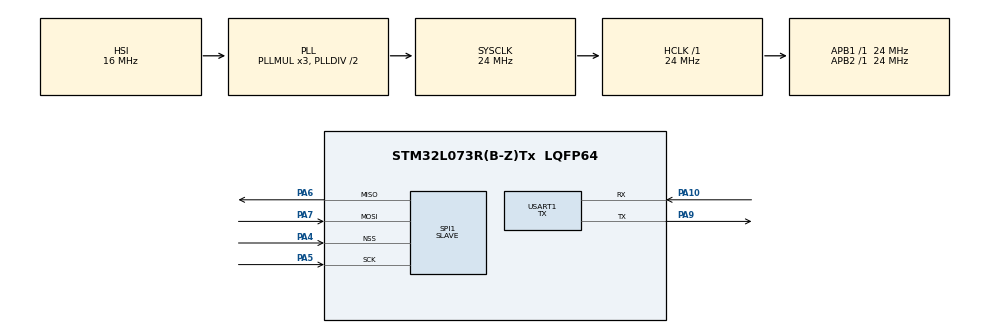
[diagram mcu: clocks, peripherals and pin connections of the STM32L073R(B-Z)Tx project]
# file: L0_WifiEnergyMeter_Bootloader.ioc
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Dma.Request0=USART1_TX
Dma.Request1=SPI1_RX
Dma.Request2=SPI1_TX
Dma.SPI1_RX.1.Direction=DMA_PERIPH_TO_MEMORY
Dma.SPI1_RX.1.Instance=DMA1_Channel2
Dma.SPI1_RX.1.MemDataAlignment=DMA_MDATAALIGN_BYTE
Dma.SPI1_RX.1.MemInc=DMA_MINC_ENABLE
Dma.SPI1_RX.1.Mode=DMA_CIRCULAR
Dma.SPI1_RX.1.PeriphDataAlignment=DMA_PDATAALIGN_BYTE
Dma.SPI1_RX.1.PeriphInc=DMA_PINC_DISABLE
Dma.SPI1_RX.1.Priority=DMA_PRIORITY_HIGH
Dma.SPI1_TX.2.Direction=DMA_MEMORY_TO_PERIPH
Dma.SPI1_TX.2.Instance=DMA1_Channel3
Dma.SPI1_TX.2.MemDataAlignment=DMA_MDATAALIGN_BYTE
Dma.SPI1_TX.2.MemInc=DMA_MINC_ENABLE
Dma.SPI1_TX.2.Mode=DMA_NORMAL
Dma.SPI1_TX.2.PeriphDataAlignment=DMA_PDATAALIGN_BYTE
Dma.SPI1_TX.2.PeriphInc=DMA_PINC_DISABLE
Dma.SPI1_TX.2.Priority=DMA_PRIORITY_MEDIUM
Dma.USART1_TX.0.Direction=DMA_MEMORY_TO_PERIPH
Dma.USART1_TX.0.Instance=DMA1_Channel4
Dma.USART1_TX.0.MemDataAlignment=DMA_MDATAALIGN_BYTE
Dma.USART1_TX.0.MemInc=DMA_MINC_ENABLE
Dma.USART1_TX.0.Mode=DMA_NORMAL
Dma.USART1_TX.0.PeriphDataAlignment=DMA_PDATAALIGN_BYTE
Dma.USART1_TX.0.PeriphInc=DMA_PINC_DISABLE
Dma.USART1_TX.0.Priority=DMA_PRIORITY_LOW
Mcu.Family=STM32L0
Mcu.Name=STM32L073R(B-Z)Tx
Mcu.Package=LQFP64
NVIC.DMA1_Channel2_3_IRQn=true\:0\:0\:false\:false\:true\:false\:true
NVIC.DMA1_Channel4_5_6_7_IRQn=true\:0\:0\:false\:false\:true\:false\:true
NVIC.SPI1_IRQn=true\:0\:0\:false\:false\:true\:true\:true
NVIC.USART1_IRQn=true\:0\:0\:false\:false\:true\:true\:true
PA10.Mode=Asynchronous
PA10.Signal=USART1_RX
PA13.Mode=Serial_Wire
PA13.Signal=SYS_SWDIO
PA14.Mode=Serial_Wire
PA14.Signal=SYS_SWCLK
PA4.Mode=NSS_Signal_Hard_Input
PA4.Signal=SPI1_NSS
PA5.Mode=Full_Duplex_Slave
PA5.Signal=SPI1_SCK
PA6.Mode=Full_Duplex_Slave
PA6.Signal=SPI1_MISO
PA7.Mode=Full_Duplex_Slave
PA7.Signal=SPI1_MOSI
PA9.Mode=Asynchronous
PA9.Signal=USART1_TX
ProjectManager.HeapSize=0x200
ProjectManager.StackSize=0x400
ProjectManager.TargetToolchain=STM32CubeIDE
RCC.AHBFreq_Value=24000000
RCC.APB1Freq_Value=24000000
RCC.APB1TimFreq_Value=24000000
RCC.APB2Freq_Value=24000000
RCC.APB2TimFreq_Value=24000000
RCC.HCLKFreq_Value=24000000
RCC.HSE_VALUE=8000000
RCC.HSI16_VALUE=16000000
RCC.HSI48_VALUE=48000000
RCC.HSI_VALUE=16000000
RCC.LSE_VALUE=32768
RCC.MSI_VALUE=2097000
RCC.SYSCLKFreq_VALUE=24000000
RCC.SYSCLKSource=RCC_SYSCLKSOURCE_PLLCLK
RCC.VCOOutputFreq_Value=48000000
SPI1.Direction=SPI_DIRECTION_2LINES
SPI1.Mode=SPI_MODE_SLAVE
SPI1.VirtualNSS=VM_NSSHARD
SPI1.VirtualType=VM_SLAVE
USART1.Mode=MODE_TX
USART1.VirtualMode-Asynchronous=VM_ASYNC
board=custom

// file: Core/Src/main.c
/* USER CODE BEGIN Header */
/**
  ******************************************************************************
  * @file           : main.c
  * @brief          : Main program body
  ******************************************************************************
  * @attention
  *
  * <h2><center>&copy; Copyright (c) 2021 STMicroelectronics.
  * All rights reserved.</center></h2>
  *
  * This software component is licensed by ST under BSD 3-Clause license,
  * the "License"; You may not use this file except in compliance with the
  * License. You may obtain a copy of the License at:
  *                        opensource.org/licenses/BSD-3-Clause
  *
  ******************************************************************************
  */
/* USER CODE END Header */
#include "main.h"

SPI_HandleTypeDef hspi1;
DMA_HandleTypeDef hdma_spi1_rx;
DMA_HandleTypeDef hdma_spi1_tx;

UART_HandleTypeDef huart1;
DMA_HandleTypeDef hdma_usart1_tx;

/* USER CODE BEGIN PV */
uint8_t SPI_RxDMABuffer[512] = { 0 };
uint8_t SPI_TxDMABuffer[512] = { 0 };
uint8_t spiRxBuffer[512] = { 0 };
extern uint8_t spiTxBuffer[512];
uint8_t espMsgRcvd = 0;

volatile uint32_t iapMailbox[2] __attribute__((section(".IAPMailbox")));
volatile uint32_t VectorTable[64] __attribute__((section(".RAMVectorTable")));
const tAppInfo appinfo __attribute__((section (".app_info"))) = {.length = 0x00, .version = APPLICATION_VERS};
const uint8_t appsha[20] __attribute__((section (".app_sha"))) = {0x0};
uint32_t gStayInBootloader = 0;
uint8_t blStay = 1;

extern void bus_process(void);

/* USER CODE END PV */

void SystemClock_Config(void);
static void MX_GPIO_Init(void);
static void MX_DMA_Init(void);
static void MX_USART1_UART_Init(void);
static void MX_SPI1_Init(void);

/* USER CODE BEGIN 0 */
void HAL_GPIO_EXTI_Callback(uint16_t GPIO_Pin) {

	if (GPIO_Pin == GPIO_PIN_4) {
		//__HAL_SPI_ENABLE(&hspi1);

	}
}

void HAL_SPI_RxCpltCallback(SPI_HandleTypeDef *hspi) {
	dbg_printf("RX ALL\r\n");

	memcpy(spiRxBuffer, SPI_RxDMABuffer, 512);
	espMsgRcvd = 1;
	bus_process();
	memset(SPI_RxDMABuffer, 0, 512);
}

void normalboot(void)
{
	iapMailbox[0] = 0;
	iapMailbox[1] = 0;
	dbg_printf("NB\n");
	iap_JumpToApplication();
}
/* USER CODE END 0 */

int main(void)
{
  /* USER CODE BEGIN 1 */
	int cnt = 0;
	int appStatus = 0;

  /* USER CODE END 1 */

  /* MCU Configuration--------------------------------------------------------*/

  /* Reset of all peripherals, Initializes the Flash interface and the Systick. */
  HAL_Init();

  /* Configure the system clock */
  SystemClock_Config();

  /* Initialize all configured peripherals */
  MX_GPIO_Init();
  MX_DMA_Init();
  MX_USART1_UART_Init();
  MX_SPI1_Init();
  /* USER CODE BEGIN 2 */
  FLASH_If_Init();
  debug_init();
  dbg_printf("cDAS Bootloader Initialization\r\n");

  HAL_SPI_Receive_DMA(&hspi1, SPI_RxDMABuffer, 512);
  //HAL_SPI_Transmit_DMA(&hspi1, spiTxBuffer, 512);

  //__HAL_SPI_ENABLE((&hspi1));
  SET_BIT(hspi1.Instance->CR2, SPI_CR2_TXDMAEN);
  CLEAR_BIT(hspi1.Instance->CR1, SPI_CR1_SSM);
  CLEAR_BIT(hspi1.Instance->CR1, SPI_CR1_SSI);

  HAL_DMA_Start(&hdma_spi1_tx, (uint32_t)&spiTxBuffer[0], (uint32_t)&hspi1.Instance->DR, 512);

  while(cnt < 1000)
  {
	  bus_comm_process();
	  HAL_Delay(1);
	  cnt++;
  }
  if (gStayInBootloader)
  {
	  while(1)
	  {
		  bus_comm_process();
		  HAL_Delay(1);
	  }
  }

  blStay = 0;

  appStatus = iap_CheckApplication();
  dbg_printf("App\n");
  dbg_printf(" Status: %2.2X\n",(unsigned int)appStatus);
  dbg_printf(" Keys: %x %x\n",(unsigned int)iapMailbox[0],(unsigned int)iapMailbox[1]);

  if (appStatus == 0)
  {
	  normalboot();
  }

  /* USER CODE END 2 */

  /* Infinite loop */
  while (1)
  {

    /* USER CODE BEGIN 3 */
	  bus_comm_process();
	  HAL_Delay(1);
  }
  /* USER CODE END 3 */
}

void SystemClock_Config(void)
{
  RCC_OscInitTypeDef RCC_OscInitStruct = {0};
  RCC_ClkInitTypeDef RCC_ClkInitStruct = {0};
  RCC_PeriphCLKInitTypeDef PeriphClkInit = {0};

  /** Configure the main internal regulator output voltage
  */
  __HAL_PWR_VOLTAGESCALING_CONFIG(PWR_REGULATOR_VOLTAGE_SCALE1);
  /** Initializes the RCC Oscillators according to the specified parameters
  * in the RCC_OscInitTypeDef structure.
  */
  RCC_OscInitStruct.OscillatorType = RCC_OSCILLATORTYPE_HSI;
  RCC_OscInitStruct.HSIState = RCC_HSI_ON;
  RCC_OscInitStruct.HSICalibrationValue = RCC_HSICALIBRATION_DEFAULT;
  RCC_OscInitStruct.PLL.PLLState = RCC_PLL_ON;
  RCC_OscInitStruct.PLL.PLLSource = RCC_PLLSOURCE_HSI;
  RCC_OscInitStruct.PLL.PLLMUL = RCC_PLLMUL_3;
  RCC_OscInitStruct.PLL.PLLDIV = RCC_PLLDIV_2;
  if (HAL_RCC_OscConfig(&RCC_OscInitStruct) != HAL_OK)
  {
    Error_Handler();
  }
  /** Initializes the CPU, AHB and APB buses clocks
  */
  RCC_ClkInitStruct.ClockType = RCC_CLOCKTYPE_HCLK|RCC_CLOCKTYPE_SYSCLK
                              |RCC_CLOCKTYPE_PCLK1|RCC_CLOCKTYPE_PCLK2;
  RCC_ClkInitStruct.SYSCLKSource = RCC_SYSCLKSOURCE_PLLCLK;
  RCC_ClkInitStruct.AHBCLKDivider = RCC_SYSCLK_DIV1;
  RCC_ClkInitStruct.APB1CLKDivider = RCC_HCLK_DIV1;
  RCC_ClkInitStruct.APB2CLKDivider = RCC_HCLK_DIV1;

  if (HAL_RCC_ClockConfig(&RCC_ClkInitStruct, FLASH_LATENCY_1) != HAL_OK)
  {
    Error_Handler();
  }
  PeriphClkInit.PeriphClockSelection = RCC_PERIPHCLK_USART1;
  PeriphClkInit.Usart1ClockSelection = RCC_USART1CLKSOURCE_PCLK2;
  if (HAL_RCCEx_PeriphCLKConfig(&PeriphClkInit) != HAL_OK)
  {
    Error_Handler();
  }
}

static void MX_SPI1_Init(void)
{

  /* SPI1 parameter configuration*/
  hspi1.Instance = SPI1;
  hspi1.Init.Mode = SPI_MODE_SLAVE;
  hspi1.Init.Direction = SPI_DIRECTION_2LINES;
  hspi1.Init.DataSize = SPI_DATASIZE_8BIT;
  hspi1.Init.CLKPolarity = SPI_POLARITY_LOW;
  hspi1.Init.CLKPhase = SPI_PHASE_1EDGE;
  hspi1.Init.NSS = SPI_NSS_HARD_INPUT;
  hspi1.Init.FirstBit = SPI_FIRSTBIT_MSB;
  hspi1.Init.TIMode = SPI_TIMODE_DISABLE;
  hspi1.Init.CRCCalculation = SPI_CRCCALCULATION_DISABLE;
  hspi1.Init.CRCPolynomial = 7;
  if (HAL_SPI_Init(&hspi1) != HAL_OK)
  {
    Error_Handler();
  }

}

static void MX_USART1_UART_Init(void)
{

  huart1.Instance = USART1;
  huart1.Init.BaudRate = 115200;
  huart1.Init.WordLength = UART_WORDLENGTH_8B;
  huart1.Init.StopBits = UART_STOPBITS_1;
  huart1.Init.Parity = UART_PARITY_NONE;
  huart1.Init.Mode = UART_MODE_TX;
  huart1.Init.HwFlowCtl = UART_HWCONTROL_NONE;
  huart1.Init.OverSampling = UART_OVERSAMPLING_16;
  huart1.Init.OneBitSampling = UART_ONE_BIT_SAMPLE_DISABLE;
  huart1.AdvancedInit.AdvFeatureInit = UART_ADVFEATURE_NO_INIT;
  if (HAL_UART_Init(&huart1) != HAL_OK)
  {
    Error_Handler();
  }

}

static void MX_DMA_Init(void)
{

  /* DMA controller clock enable */
  __HAL_RCC_DMA1_CLK_ENABLE();

  /* DMA interrupt init */
  /* DMA1_Channel2_3_IRQn interrupt configuration */
  HAL_NVIC_SetPriority(DMA1_Channel2_3_IRQn, 0, 0);
  HAL_NVIC_EnableIRQ(DMA1_Channel2_3_IRQn);
  /* DMA1_Channel4_5_6_7_IRQn interrupt configuration */
  HAL_NVIC_SetPriority(DMA1_Channel4_5_6_7_IRQn, 0, 0);
  HAL_NVIC_EnableIRQ(DMA1_Channel4_5_6_7_IRQn);

}

static void MX_GPIO_Init(void)
{

  /* GPIO Ports Clock Enable */
  __HAL_RCC_GPIOA_CLK_ENABLE();

}

void Error_Handler(void)
{
  __disable_irq();
  while (1)
  {
  }
}

/************************ (C) COPYRIGHT STMicroelectronics *****END OF FILE****/
